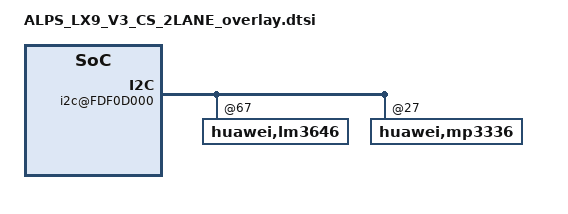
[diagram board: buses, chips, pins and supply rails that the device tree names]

/**
 * Copyright (C) 2014 Hisilicon Ltd.
 *
 *  This program is free software; you can redistribute it and/or modify
 *  it under the terms of the GNU General Public License version 2 as
 *  publishhed by the Free Software Foundation.
 */

/include/ "ALPS_LX9_V1_CS_overlay.dtsi"

/ {
	board_id = <6406>;
};

&rootparam {
    hisi,boardid = <6 4 0 6>;
    hisi,boardname = "ALPS_LX9_V3_CS_2LANE";
};

	&huawei_lcd_panel {
		product_id = <1001>;
	};
	&sensorhub{
		light{
			als1{
				als_phone_version = <102>;
			};
			als2{
				als_phone_version = <102>;
			};
		};
		gsensor{
			acc1{
				negate_x =<0>;
				negate_y =<1>;
				negate_z =<1>;
			};
			acc2{
				negate_x =<0>;
				negate_y =<1>;
				negate_z =<1>;
			};
		};
		gyroscope{
			gyro1{
				position = <5>;
				axis_map_x =<0>;
				axis_map_y =<1>;
				axis_map_z =<2>;
				negate_x =<0>;
				negate_y =<1>;
				negate_z =<1>;
			};
			gyro2{
				position = <5>;
				axis_map_x =<0>;
				axis_map_y =<1>;
				axis_map_z =<2>;
				negate_x =<0>;
				negate_y =<1>;
				negate_z =<1>;
			};
		};
	};

	&amba {
		i2c@FDF0D000 {

			huawei,lm3646@67{
				huawei,led-type = <0>; /* 1, dual tempature; 0, dual white */
				huawei,flash-current = <0 15 0>; /* */
				status = "ok";
			};

			huawei,mp3336@27{
				huawei,led-type = <0>; /* 1, dual tempature; 0, dual white */
				huawei,flash-current = <0 18 0>;
				status = "ok";
			};
        };
    };

